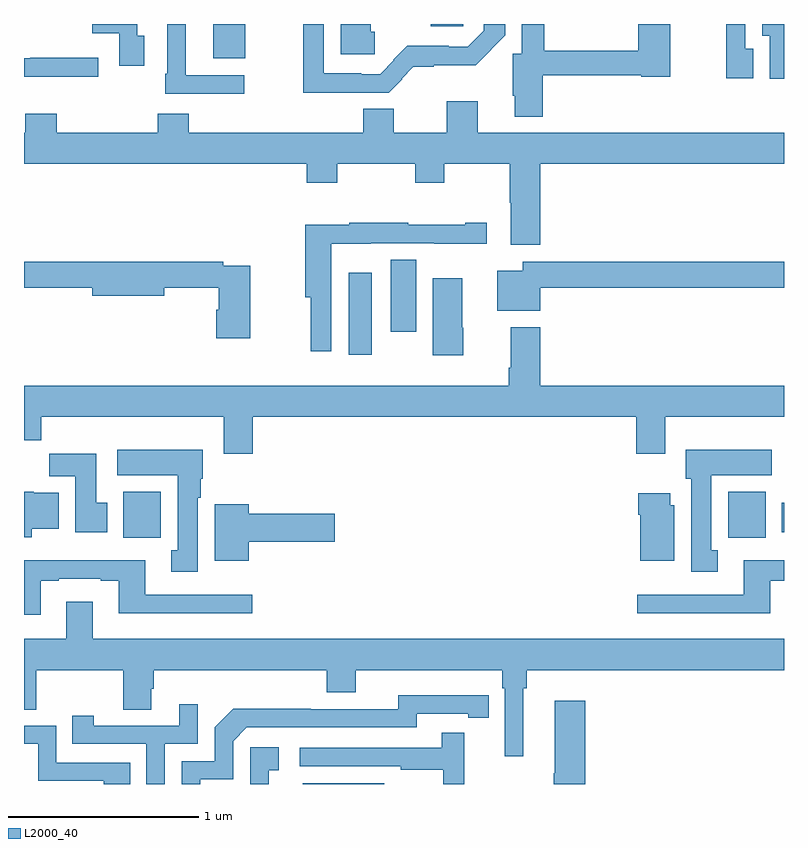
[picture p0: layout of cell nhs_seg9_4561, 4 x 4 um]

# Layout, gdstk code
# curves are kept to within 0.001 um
import gdstk
lib = gdstk.Library(unit=1e-6, precision=1e-09)
def R(c, l, rs):  # rectangles x0, y0, x1, y1
    for r in rs: c.add(gdstk.rectangle(r[:2], r[2:], *l))
def P(c, l, *ps):  # polygons
    for p in ps: c.add(gdstk.Polygon(p, *l))
L2000_40 = (2000, 40)

nhs_seg9_4561 = lib.new_cell('nhs_seg9_4561')
R(nhs_seg9_4561, L2000_40, [(374.468,1182.5,374.896,1182.505), (373.523,1183.796,373.72,1184.038), (376.706,1183.796,376.903,1184.038), (376.988,1183.824,377,1183.98), (374.708,1184.76,374.83,1185.19), (374.93,1184.88,375.064,1185.26), (373.997,1186.319,374.164,1186.5), (375.14,1186.488,375.312,1186.5)])
P(nhs_seg9_4561, L2000_40, [(374.158,1186.23),(373.852,1186.23),(373.852,1186.427),(373.851,1186.427),(373.851,1186.5),(373.755,1186.5),(373.755,1186.237),(373.743,1186.237),(373.743,1186.134),(374.158,1186.134)],
  [(374.991,1186.209),(374.987,1186.213),(375.049,1186.275),(375.157,1186.275),(375.157,1186.283),(375.377,1186.283),(375.532,1186.44),(375.532,1186.5),(375.42,1186.5),(375.42,1186.464),(375.336,1186.38),(375.236,1186.38),(375.236,1186.385),(375.017,1186.385),(374.943,1186.311),(374.946,1186.308),(374.874,1186.236),(374.774,1186.236),(374.774,1186.24),(374.577,1186.24),(374.577,1186.5),(374.469,1186.5),(374.469,1186.139),(374.921,1186.139)],
  [(377,1186.5),(376.886,1186.5),(376.886,1186.439),(376.925,1186.439),(376.925,1186.211),(377,1186.211)],
  [(376.837,1186.371),(376.797,1186.371),(376.797,1186.5),(376.696,1186.5),(376.696,1186.215),(376.837,1186.215)],
  [(373.633,1186.437),(373.597,1186.437),(373.597,1186.5),(373.358,1186.5),(373.358,1186.451),(373.5,1186.451),(373.5,1186.281),(373.633,1186.281)],
  [(374.847,1186.458),(374.824,1186.458),(374.824,1186.5),(374.666,1186.5),(374.666,1186.341),(374.847,1186.341)],
  [(375.731,1186.23),(376.248,1186.23),(376.248,1186.222),(376.402,1186.222),(376.402,1186.5),(376.232,1186.5),(376.232,1186.358),(375.737,1186.358),(375.737,1186.5),(375.621,1186.5),(375.621,1186.344),(375.572,1186.344),(375.572,1186.123),(375.584,1186.123),(375.584,1186.013),(375.731,1186.013)],
  [(373.39,1186.323),(373.033,1186.323),(373.033,1186.32),(373,1186.32),(373,1186.223),(373.39,1186.223)],
  [(375.716,1185.764),(377,1185.764),(377,1185.928),(375.388,1185.928),(375.388,1186.093),(375.224,1186.093),(375.224,1185.928),(374.947,1185.928),(374.947,1186.054),(374.786,1186.054),(374.786,1185.928),(373.868,1185.928),(373.868,1186.027),(373.703,1186.027),(373.703,1185.928),(373.172,1185.928),(373.172,1186.027),(373.007,1186.027),(373.007,1185.928),(373,1185.928),(373,1185.764),(374.489,1185.764),(374.489,1185.665),(374.649,1185.665),(374.649,1185.764),(375.058,1185.764),(375.058,1185.665),(375.213,1185.665),(375.213,1185.764),(375.556,1185.764),(375.556,1185.56),(375.563,1185.56),(375.563,1185.339),(375.716,1185.339)],
  [(374.616,1185.344),(374.826,1185.344),(374.826,1185.345),(375.16,1185.345),(375.16,1185.344),(375.436,1185.344),(375.436,1185.454),(375.323,1185.454),(375.323,1185.444),(375.023,1185.444),(375.023,1185.454),(374.713,1185.454),(374.713,1185.444),(374.479,1185.444),(374.479,1185.062),(374.508,1185.062),(374.508,1184.778),(374.616,1184.778)],
  [(374.19,1185.228),(374.048,1185.228),(374.048,1185.248),(373,1185.248),(373,1185.112),(373.358,1185.112),(373.358,1185.07),(373.738,1185.07),(373.738,1185.112),(374.024,1185.112),(374.024,1184.997),(374.012,1184.997),(374.012,1184.847),(374.19,1184.847)],
  [(375.718,1185.112),(377,1185.112),(377,1185.248),(375.624,1185.248),(375.624,1185.202),(375.491,1185.202),(375.491,1184.99),(375.718,1184.99)],
  [(375.313,1184.901),(375.307,1184.901),(375.307,1185.163),(375.152,1185.163),(375.152,1184.757),(375.313,1184.757)],
  [(374.204,1184.432),(376.223,1184.432),(376.223,1184.238),(376.375,1184.238),(376.375,1184.432),(377,1184.432),(377,1184.596),(375.716,1184.596),(375.716,1184.905),(375.563,1184.905),(375.563,1184.692),(375.551,1184.692),(375.551,1184.596),(373,1184.596),(373,1184.308),(373.091,1184.308),(373.091,1184.432),(374.051,1184.432),(374.051,1184.238),(374.204,1184.238)],
  [(373.915,1184.006),(373.93,1184.006),(373.93,1184.106),(373.942,1184.106),(373.942,1184.26),(373.491,1184.26),(373.491,1184.126),(373.808,1184.126),(373.808,1183.73),(373.775,1183.73),(373.775,1183.617),(373.915,1183.617)],
  [(376.651,1183.73),(376.618,1183.73),(376.618,1184.126),(376.936,1184.126),(376.936,1184.26),(376.484,1184.26),(376.484,1184.106),(376.511,1184.106),(376.511,1183.617),(376.651,1183.617)],
  [(373.438,1183.98),(373.381,1183.98),(373.381,1184.239),(373.132,1184.239),(373.132,1184.12),(373.271,1184.12),(373.271,1183.824),(373.438,1183.824)],
  [(373.042,1183.844),(373.183,1183.844),(373.183,1184.032),(373.05,1184.032),(373.05,1184.038),(373,1184.038),(373,1183.8),(373.042,1183.8)],
  [(376.423,1183.968),(376.402,1183.968),(376.402,1184.029),(376.232,1184.029),(376.232,1183.916),(376.244,1183.916),(376.244,1183.676),(376.423,1183.676)],
  [(374.182,1183.775),(374.635,1183.775),(374.635,1183.922),(374.182,1183.922),(374.182,1183.972),(374.003,1183.972),(374.003,1183.676),(374.182,1183.676)],
  [(376.927,1183.569),(377,1183.569),(377,1183.678),(376.787,1183.678),(376.787,1183.497),(376.227,1183.497),(376.227,1183.4),(376.927,1183.4)],
  [(373.087,1183.569),(373.183,1183.569),(373.183,1183.581),(373.403,1183.581),(373.403,1183.569),(373.499,1183.569),(373.499,1183.4),(374.2,1183.4),(374.2,1183.497),(373.639,1183.497),(373.639,1183.678),(373,1183.678),(373,1183.392),(373.087,1183.392)],
  [(375.628,1183.004),(375.647,1183.004),(375.647,1183.1),(377,1183.1),(377,1183.264),(373.363,1183.264),(373.363,1183.459),(373.223,1183.459),(373.223,1183.264),(373,1183.264),(373,1182.892),(373.065,1182.892),(373.065,1183.1),(373.522,1183.1),(373.522,1182.892),(373.669,1182.892),(373.669,1183.002),(373.682,1183.002),(373.682,1183.1),(374.594,1183.1),(374.594,1182.983),(374.746,1182.983),(374.746,1183.1),(375.518,1183.1),(375.518,1183.004),(375.531,1183.004),(375.531,1182.645),(375.628,1182.645)],
  [(373.927,1182.525),(374.1,1182.525),(374.1,1182.726),(374.172,1182.798),(375.066,1182.798),(375.066,1182.87),(375.338,1182.87),(375.338,1182.85),(375.446,1182.85),(375.446,1182.966),(374.97,1182.967),(374.97,1182.894),(374.51,1182.894),(374.51,1182.896),(374.102,1182.896),(374.004,1182.798),(374.004,1182.621),(373.83,1182.621),(373.83,1182.5),(373.927,1182.5)],
  [(375.953,1182.937),(375.794,1182.937),(375.794,1182.557),(375.787,1182.557),(375.787,1182.5),(375.953,1182.5)],
  [(373.74,1182.711),(373.914,1182.711),(373.914,1182.919),(373.817,1182.919),(373.817,1182.807),(373.366,1182.807),(373.366,1182.859),(373.255,1182.859),(373.255,1182.711),(373.644,1182.711),(373.644,1182.5),(373.74,1182.5)],
  [(373.559,1182.612),(373.17,1182.612),(373.17,1182.807),(373,1182.807),(373,1182.711),(373.074,1182.711),(373.074,1182.516),(373.419,1182.516),(373.419,1182.5),(373.559,1182.5)],
  [(375.317,1182.769),(375.199,1182.769),(375.199,1182.69),(374.451,1182.69),(374.451,1182.594),(374.983,1182.594),(374.983,1182.574),(375.207,1182.574),(375.207,1182.5),(375.317,1182.5)],
  [(374.288,1182.573),(374.341,1182.573),(374.341,1182.694),(374.19,1182.694),(374.19,1182.5),(374.288,1182.5)])

lib.write_gds('nhs_seg9_4561.gds')
